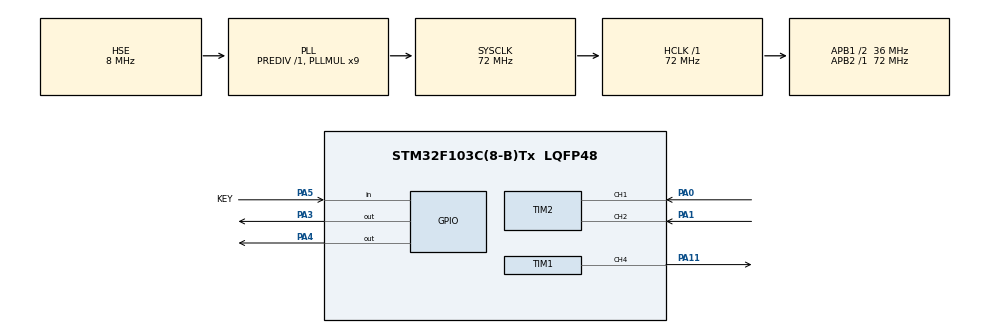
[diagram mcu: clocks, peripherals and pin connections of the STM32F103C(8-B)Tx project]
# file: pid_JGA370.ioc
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Mcu.Family=STM32F1
Mcu.Name=STM32F103C(8-B)Tx
Mcu.Package=LQFP48
NVIC.PriorityGroup=NVIC_PRIORITYGROUP_4
NVIC.TIM3_IRQn=true\:0\:0\:false\:false\:true\:true\:true\:true
PA0-WKUP.GPIO_PuPd=GPIO_PULLUP
PA0-WKUP.Signal=S_TIM2_CH1_ETR
PA1.GPIO_PuPd=GPIO_PULLUP
PA1.Signal=S_TIM2_CH2
PA11.Signal=S_TIM1_CH4
PA13.Mode=Serial_Wire
PA13.Signal=SYS_JTMS-SWDIO
PA14.Mode=Serial_Wire
PA14.Signal=SYS_JTCK-SWCLK
PA3.Signal=GPIO_Output
PA4.Signal=GPIO_Output
PA5.GPIO_Label=KEY
PA5.GPIO_PuPd=GPIO_PULLUP
PA5.Signal=GPIO_Input
PD0-OSC_IN.Mode=HSE-External-Oscillator
PD0-OSC_IN.Signal=RCC_OSC_IN
PD1-OSC_OUT.Mode=HSE-External-Oscillator
PD1-OSC_OUT.Signal=RCC_OSC_OUT
ProjectManager.HeapSize=0x200
ProjectManager.StackSize=0x400
ProjectManager.TargetToolchain=MDK-ARM V5.32
RCC.AHBFreq_Value=72000000
RCC.APB1CLKDivider=RCC_HCLK_DIV2
RCC.APB1Freq_Value=36000000
RCC.APB1TimFreq_Value=72000000
RCC.APB2Freq_Value=72000000
RCC.APB2TimFreq_Value=72000000
RCC.HCLKFreq_Value=72000000
RCC.PLLMUL=RCC_PLL_MUL9
RCC.PLLSourceVirtual=RCC_PLLSOURCE_HSE
RCC.SYSCLKFreq_VALUE=72000000
RCC.SYSCLKSource=RCC_SYSCLKSOURCE_PLLCLK
RCC.USBFreq_Value=72000000
SH.S_TIM1_CH4.0=TIM1_CH4,PWM Generation4 CH4
SH.S_TIM2_CH1_ETR.0=TIM2_CH1,Encoder_Interface
SH.S_TIM2_CH2.0=TIM2_CH2,Encoder_Interface
TIM1.Channel-PWM\ Generation4\ CH4=TIM_CHANNEL_4
TIM1.Period=100-1
TIM1.Prescaler=72-1
TIM2.EncoderMode=TIM_ENCODERMODE_TI12
TIM3.Period=10000-1
TIM3.Prescaler=72-1
VP_TIM3_VS_ClockSourceINT.Mode=Internal
board=custom

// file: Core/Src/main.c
/* USER CODE BEGIN Header */
/**
  ******************************************************************************
  * @file           : main.c
  * @brief          : Main program body
  ******************************************************************************
  * @attention
  *
  * Copyright (c) 2025 STMicroelectronics.
  * All rights reserved.
  *
  * This software is licensed under terms that can be found in the LICENSE file
  * in the root directory of this software component.
  * If no LICENSE file comes with this software, it is provided AS-IS.
  *
  ******************************************************************************
  */
/* USER CODE END Header */
#include "main.h"
#include "pid.h"

/* USER CODE BEGIN PTD */
#define ENCODERMAX 65535
/* USER CODE END PTD */

TIM_HandleTypeDef htim1;
TIM_HandleTypeDef htim2;
TIM_HandleTypeDef htim3;

void SystemClock_Config(void);
static void MX_GPIO_Init(void);
static void MX_TIM3_Init(void);
static void MX_TIM1_Init(void);
static void MX_TIM2_Init(void);
/* USER CODE BEGIN PFP */
struct  keys
{ uint8_t key_check;
	uint8_t key_juade;
	uint8_t key_flag;
};
struct keys key;
/* USER CODE END PFP */

/* USER CODE BEGIN 0 */
float goal_speed=1.00;
float MotorSpeed = 0.00;
float pwm_value = 0.00;
short EncoderCount = 0;
PidTypeDef pid_motor;
float PID_params[3] = {10.0f, 0.75f, 0.1f};
void HAL_TIM_PeriodElapsedCallback(TIM_HandleTypeDef *htim)
{
	if(htim->Instance==TIM3)   //10ms定时�??
	{
		key.key_check =HAL_GPIO_ReadPin(KEY_GPIO_Port, KEY_Pin);

			switch(key.key_juade)
			{
				case 0:										//�??测按键按�??
				{
					if(key.key_check==0)
					{key.key_juade =1;}
				}break ;

				case 1:										//是否真的按下
				{
					if(key.key_check==0)
					{key.key_juade =2;
					 key.key_flag =1;
					}
					else key.key_juade =0;
				}break ;

				case 2:										//按键释放状�??
				{
					if(key.key_check==1)
					{key.key_juade =0;
					//key[i].key_flag =1;
					}
				}break ;

		  }

			if(key.key_flag ==1)
		{
			if(goal_speed ==4)
				goal_speed =0;
			goal_speed +=1;
			key.key_flag =0;
		}
    pwm_value = PID_Calc1(&pid_motor, MotorSpeed, goal_speed);
		__HAL_TIM_SET_COMPARE(&htim1 ,TIM_CHANNEL_4 ,pwm_value);
  }
}
/* USER CODE END 0 */

int main(void)
{

  /* MCU Configuration--------------------------------------------------------*/

  /* Reset of all peripherals, Initializes the Flash interface and the Systick. */
  HAL_Init();

  /* Configure the system clock */
  SystemClock_Config();

  /* Initialize all configured peripherals */
  MX_GPIO_Init();
  MX_TIM3_Init();
  MX_TIM1_Init();
  MX_TIM2_Init();
  /* USER CODE BEGIN 2 */
  PID_init(&pid_motor, PID_POSITION, PID_params, 100.0f, 50.0f);
  HAL_TIM_PWM_Start(&htim1 ,TIM_CHANNEL_4 );
  HAL_TIM_PWM_Start (&htim2,TIM_CHANNEL_ALL );
	HAL_TIM_Encoder_Start(&htim2,TIM_CHANNEL_ALL);
  HAL_TIM_Base_Start_IT (&htim2);
	HAL_TIM_Base_Start_IT (&htim3);
	HAL_GPIO_WritePin (GPIOA ,GPIO_PIN_3,GPIO_PIN_SET );
  HAL_GPIO_WritePin (GPIOA ,GPIO_PIN_4,GPIO_PIN_RESET );
	__HAL_TIM_SET_COMPARE(&htim1, TIM_CHANNEL_4, 0);
  /* USER CODE END 2 */

  /* Infinite loop */
  /* USER CODE BEGIN WHILE */
  while (1)
  {
		EncoderCount =(short)__HAL_TIM_GET_COUNTER (&htim2);
		MotorSpeed =(-1)*(float)EncoderCount *10/21.3/11/4;
    __HAL_TIM_SetCounter(&htim2, 0);
		HAL_Delay (180);
    /* USER CODE END WHILE */

  }
}

void SystemClock_Config(void)
{
  RCC_OscInitTypeDef RCC_OscInitStruct = {0};
  RCC_ClkInitTypeDef RCC_ClkInitStruct = {0};

  /** Initializes the RCC Oscillators according to the specified parameters
  * in the RCC_OscInitTypeDef structure.
  */
  RCC_OscInitStruct.OscillatorType = RCC_OSCILLATORTYPE_HSE;
  RCC_OscInitStruct.HSEState = RCC_HSE_ON;
  RCC_OscInitStruct.HSEPredivValue = RCC_HSE_PREDIV_DIV1;
  RCC_OscInitStruct.HSIState = RCC_HSI_ON;
  RCC_OscInitStruct.PLL.PLLState = RCC_PLL_ON;
  RCC_OscInitStruct.PLL.PLLSource = RCC_PLLSOURCE_HSE;
  RCC_OscInitStruct.PLL.PLLMUL = RCC_PLL_MUL9;
  if (HAL_RCC_OscConfig(&RCC_OscInitStruct) != HAL_OK)
  {
    Error_Handler();
  }

  /** Initializes the CPU, AHB and APB buses clocks
  */
  RCC_ClkInitStruct.ClockType = RCC_CLOCKTYPE_HCLK|RCC_CLOCKTYPE_SYSCLK
                              |RCC_CLOCKTYPE_PCLK1|RCC_CLOCKTYPE_PCLK2;
  RCC_ClkInitStruct.SYSCLKSource = RCC_SYSCLKSOURCE_PLLCLK;
  RCC_ClkInitStruct.AHBCLKDivider = RCC_SYSCLK_DIV1;
  RCC_ClkInitStruct.APB1CLKDivider = RCC_HCLK_DIV2;
  RCC_ClkInitStruct.APB2CLKDivider = RCC_HCLK_DIV1;

  if (HAL_RCC_ClockConfig(&RCC_ClkInitStruct, FLASH_LATENCY_2) != HAL_OK)
  {
    Error_Handler();
  }
}

static void MX_TIM1_Init(void)
{

  TIM_MasterConfigTypeDef sMasterConfig = {0};
  TIM_OC_InitTypeDef sConfigOC = {0};
  TIM_BreakDeadTimeConfigTypeDef sBreakDeadTimeConfig = {0};

  htim1.Instance = TIM1;
  htim1.Init.Prescaler = 72-1;
  htim1.Init.CounterMode = TIM_COUNTERMODE_UP;
  htim1.Init.Period = 100-1;
  htim1.Init.ClockDivision = TIM_CLOCKDIVISION_DIV1;
  htim1.Init.RepetitionCounter = 0;
  htim1.Init.AutoReloadPreload = TIM_AUTORELOAD_PRELOAD_DISABLE;
  if (HAL_TIM_PWM_Init(&htim1) != HAL_OK)
  {
    Error_Handler();
  }
  sMasterConfig.MasterOutputTrigger = TIM_TRGO_RESET;
  sMasterConfig.MasterSlaveMode = TIM_MASTERSLAVEMODE_DISABLE;
  if (HAL_TIMEx_MasterConfigSynchronization(&htim1, &sMasterConfig) != HAL_OK)
  {
    Error_Handler();
  }
  sConfigOC.OCMode = TIM_OCMODE_PWM1;
  sConfigOC.Pulse = 0;
  sConfigOC.OCPolarity = TIM_OCPOLARITY_HIGH;
  sConfigOC.OCFastMode = TIM_OCFAST_DISABLE;
  sConfigOC.OCIdleState = TIM_OCIDLESTATE_RESET;
  sConfigOC.OCNIdleState = TIM_OCNIDLESTATE_RESET;
  if (HAL_TIM_PWM_ConfigChannel(&htim1, &sConfigOC, TIM_CHANNEL_4) != HAL_OK)
  {
    Error_Handler();
  }
  sBreakDeadTimeConfig.OffStateRunMode = TIM_OSSR_DISABLE;
  sBreakDeadTimeConfig.OffStateIDLEMode = TIM_OSSI_DISABLE;
  sBreakDeadTimeConfig.LockLevel = TIM_LOCKLEVEL_OFF;
  sBreakDeadTimeConfig.DeadTime = 0;
  sBreakDeadTimeConfig.BreakState = TIM_BREAK_DISABLE;
  sBreakDeadTimeConfig.BreakPolarity = TIM_BREAKPOLARITY_HIGH;
  sBreakDeadTimeConfig.AutomaticOutput = TIM_AUTOMATICOUTPUT_DISABLE;
  if (HAL_TIMEx_ConfigBreakDeadTime(&htim1, &sBreakDeadTimeConfig) != HAL_OK)
  {
    Error_Handler();
  }
  HAL_TIM_MspPostInit(&htim1);

}

static void MX_TIM2_Init(void)
{

  TIM_Encoder_InitTypeDef sConfig = {0};
  TIM_MasterConfigTypeDef sMasterConfig = {0};

  htim2.Instance = TIM2;
  htim2.Init.Prescaler = 0;
  htim2.Init.CounterMode = TIM_COUNTERMODE_UP;
  htim2.Init.Period = 65535;
  htim2.Init.ClockDivision = TIM_CLOCKDIVISION_DIV1;
  htim2.Init.AutoReloadPreload = TIM_AUTORELOAD_PRELOAD_DISABLE;
  sConfig.EncoderMode = TIM_ENCODERMODE_TI12;
  sConfig.IC1Polarity = TIM_ICPOLARITY_RISING;
  sConfig.IC1Selection = TIM_ICSELECTION_DIRECTTI;
  sConfig.IC1Prescaler = TIM_ICPSC_DIV1;
  sConfig.IC1Filter = 0;
  sConfig.IC2Polarity = TIM_ICPOLARITY_RISING;
  sConfig.IC2Selection = TIM_ICSELECTION_DIRECTTI;
  sConfig.IC2Prescaler = TIM_ICPSC_DIV1;
  sConfig.IC2Filter = 0;
  if (HAL_TIM_Encoder_Init(&htim2, &sConfig) != HAL_OK)
  {
    Error_Handler();
  }
  sMasterConfig.MasterOutputTrigger = TIM_TRGO_RESET;
  sMasterConfig.MasterSlaveMode = TIM_MASTERSLAVEMODE_DISABLE;
  if (HAL_TIMEx_MasterConfigSynchronization(&htim2, &sMasterConfig) != HAL_OK)
  {
    Error_Handler();
  }

}

static void MX_TIM3_Init(void)
{

  TIM_ClockConfigTypeDef sClockSourceConfig = {0};
  TIM_MasterConfigTypeDef sMasterConfig = {0};

  htim3.Instance = TIM3;
  htim3.Init.Prescaler = 72-1;
  htim3.Init.CounterMode = TIM_COUNTERMODE_UP;
  htim3.Init.Period = 10000-1;
  htim3.Init.ClockDivision = TIM_CLOCKDIVISION_DIV1;
  htim3.Init.AutoReloadPreload = TIM_AUTORELOAD_PRELOAD_DISABLE;
  if (HAL_TIM_Base_Init(&htim3) != HAL_OK)
  {
    Error_Handler();
  }
  sClockSourceConfig.ClockSource = TIM_CLOCKSOURCE_INTERNAL;
  if (HAL_TIM_ConfigClockSource(&htim3, &sClockSourceConfig) != HAL_OK)
  {
    Error_Handler();
  }
  sMasterConfig.MasterOutputTrigger = TIM_TRGO_RESET;
  sMasterConfig.MasterSlaveMode = TIM_MASTERSLAVEMODE_DISABLE;
  if (HAL_TIMEx_MasterConfigSynchronization(&htim3, &sMasterConfig) != HAL_OK)
  {
    Error_Handler();
  }

}

static void MX_GPIO_Init(void)
{
  GPIO_InitTypeDef GPIO_InitStruct = {0};

  /* GPIO Ports Clock Enable */
  __HAL_RCC_GPIOD_CLK_ENABLE();
  __HAL_RCC_GPIOA_CLK_ENABLE();

  /*Configure GPIO pin Output Level */
  HAL_GPIO_WritePin(GPIOA, GPIO_PIN_3|GPIO_PIN_4, GPIO_PIN_RESET);

  /*Configure GPIO pins : PA3 PA4 */
  GPIO_InitStruct.Pin = GPIO_PIN_3|GPIO_PIN_4;
  GPIO_InitStruct.Mode = GPIO_MODE_OUTPUT_PP;
  GPIO_InitStruct.Pull = GPIO_NOPULL;
  GPIO_InitStruct.Speed = GPIO_SPEED_FREQ_LOW;
  HAL_GPIO_Init(GPIOA, &GPIO_InitStruct);

  /*Configure GPIO pin : KEY_Pin */
  GPIO_InitStruct.Pin = KEY_Pin;
  GPIO_InitStruct.Mode = GPIO_MODE_INPUT;
  GPIO_InitStruct.Pull = GPIO_PULLUP;
  HAL_GPIO_Init(KEY_GPIO_Port, &GPIO_InitStruct);

}

void Error_Handler(void)
{
  __disable_irq();
  while (1)
  {
  }
}
